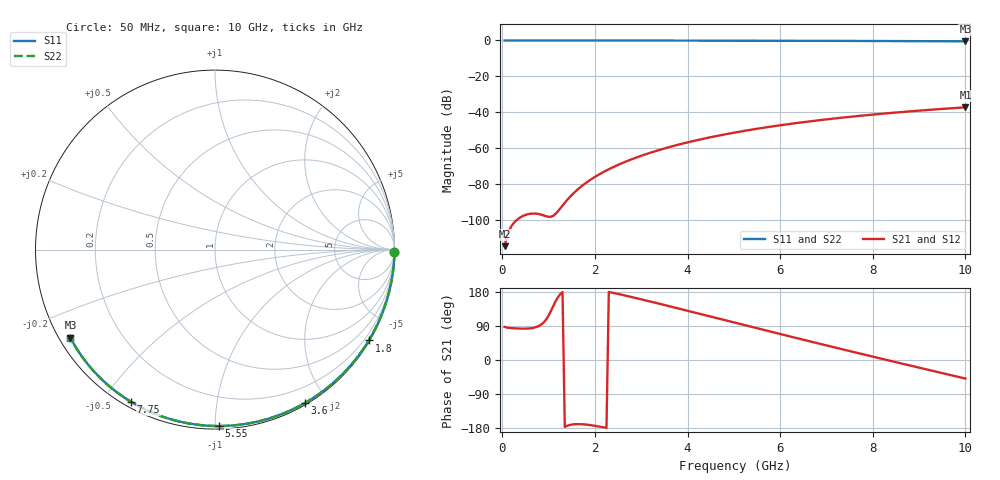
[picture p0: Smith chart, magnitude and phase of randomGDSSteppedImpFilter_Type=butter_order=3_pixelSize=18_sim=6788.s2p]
! freq	dB(S11)	phase(S11)	dB(S12)	phase(S12)
!  dB(S21)	phase(S21)	dB(S22)	phase(S22)
!S-par simulation data
#  GHz  S  DB  R 50
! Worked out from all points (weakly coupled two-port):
!   200 points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, 50 MHz to 10 GHz, reference 50 ohm
!   highest |S21| = -37.21 dB at 10 GHz (marker M1); lowest = -114.5 dB at 50 MHz (marker M2)
!   lowest |S11| = -0.5 dB at 10 GHz (marker M3), VSWR 34.58, Z = 1.56 - j14 ohm
!   |S11| at or under -10 dB: nowhere
!   |S22| runs from -0.5 to 0.0 dB; largest |S21 - S12| = 0
!   S11 on the Smith chart (normalised r, x): 50 MHz: open; 1.8 GHz: 0.03, -3.66; 3.6 GHz: 0.02, -1.75; 5.55 GHz: 0.02, -1.02; 7.75 GHz: 0.02, -0.59; 10 GHz: 0.03, -0.28
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0.05  -0.00 -0.9  -114.48 87.3  -114.48 87.3  -0.00 -0.9
0.45  -0.01 -7.8  -97.61 82.8  -97.61 82.8  -0.01 -7.8
0.9  -0.02 -15.4  -97.43 99.9  -97.43 99.9  -0.02 -15.4
1.3  -0.03 -22.2  -91.87 179.3  -91.87 179.3  -0.03 -22.2
1.75  -0.04 -29.7  -80.34 -169.8  -80.34 -169.8  -0.04 -29.7
1.8  -0.04 -30.5  -79.38 -170.3  -79.38 -170.3  -0.04 -30.5
1.95  -0.04 -33.0  -76.75 -172.7  -76.75 -172.7  -0.04 -33.0
2.1  -0.05 -35.5  -74.43 -175.7  -74.43 -175.7  -0.05 -35.5
2.3  -0.05 -38.8  -71.68 179.6  -71.68 179.6  -0.05 -38.8
2.5  -0.05 -42.0  -69.25 174.3  -69.25 174.3  -0.05 -42.0
2.9  -0.06 -48.5  -65.10 163.1  -65.10 163.1  -0.06 -48.5
3.4  -0.08 -56.4  -60.86 148.2  -60.86 148.2  -0.08 -56.4
3.6  -0.08 -59.5  -59.38 142.2  -59.38 142.2  -0.08 -59.5
4.3  -0.10 -70.3  -54.94 120.7  -54.94 120.7  -0.10 -70.3
5.05  -0.13 -81.4  -51.11 97.6  -51.11 97.6  -0.13 -81.4
5.55  -0.15 -88.7  -48.94 82.3  -48.94 82.3  -0.15 -88.7
6.1  -0.17 -96.4  -46.84 65.6  -46.84 65.6  -0.17 -96.4
6.7  -0.20 -104.7  -44.83 47.5  -44.83 47.5  -0.20 -104.7
7.75  -0.28 -118.9  -41.87 16.2  -41.87 16.2  -0.28 -118.9
8.35  -0.33 -126.9  -40.43 -1.4  -40.43 -1.4  -0.33 -126.9
9.2  -0.41 -138.1  -38.65 -26.0  -38.65 -26.0  -0.41 -138.1
10  -0.50 -148.6  -37.21 -49.0  -37.21 -49.0  -0.50 -148.6
